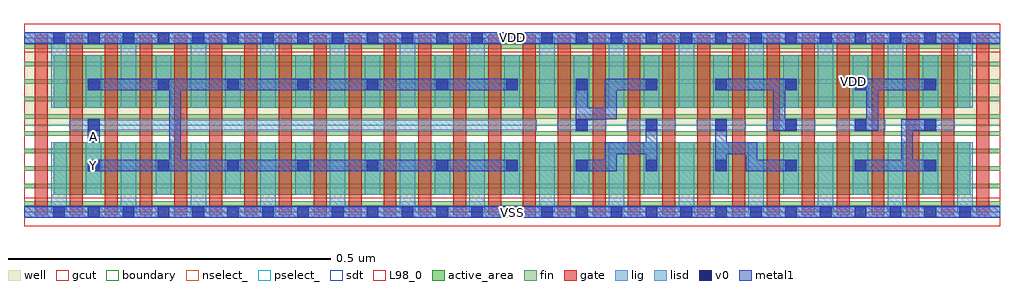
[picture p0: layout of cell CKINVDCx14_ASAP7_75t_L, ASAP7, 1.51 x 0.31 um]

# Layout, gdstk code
import gdstk
lib = gdstk.Library(unit=1e-6, precision=2.5e-10)
def R(c, l, rs):  # rectangles x0, y0, x1, y1
    for r in rs: c.add(gdstk.rectangle(r[:2], r[2:], *l))
def A(c, l, x, y, w, h, nx, ny, dx, dy):  # array of equal rectangles
    R(c, l, [(x+i*dx, y+j*dy, x+i*dx+w, y+j*dy+h) for i in range(nx) for j in range(ny)])
def P(c, l, *ps):  # polygons
    for p in ps: c.add(gdstk.Polygon(p, *l))
well = (1, 0)
fin = (2, 0)
gate = (7, 0)
gcut = (10, 0)
active_area = (11, 0)
nselect_ = (12, 0)
pselect_ = (13, 0)
lig = (16, 0)
lisd = (17, 0)
v0 = (18, 0)
metal1 = (19, 0)
sdt = (88, 0)
L98_0 = (98, 0)
boundary = (100, 0)

ckinvdcx14_asap7_75t_l = lib.new_cell('CKINVDCx14_ASAP7_75t_L')
R(ckinvdcx14_asap7_75t_l, well, [(0,0.135,1.512,0.27)])
A(ckinvdcx14_asap7_75t_l, fin, 0, 0.01, 1.512, 0.007, 1, 10, 0, 0.027)
A(ckinvdcx14_asap7_75t_l, gate, 0.017, -0.005, 0.02, 0.28, 28, 1, 0.054, 0)
R(ckinvdcx14_asap7_75t_l, gcut, [(0,-0.022,1.512,0.022), (0,0.248,1.512,0.292)])
R(ckinvdcx14_asap7_75t_l, active_area, [(0.046,0.027,1.466,0.108), (0.046,0.162,1.466,0.243)])
R(ckinvdcx14_asap7_75t_l, nselect_, [(0,0,1.512,0.135)])
R(ckinvdcx14_asap7_75t_l, pselect_, [(0,0.135,1.512,0.27)])
A(ckinvdcx14_asap7_75t_l, lig, 0.826, 0.127, 0.076, 0.016, 6, 1, 0.108, 0)
R(ckinvdcx14_asap7_75t_l, lig, [(0,-0.008,1.512,0.008), (0.07,0.127,0.794,0.143), (0,0.262,1.512,0.278)])
A(ckinvdcx14_asap7_75t_l, lisd, 0.042, 0, 0.024, 0.108, 14, 2, 0.108, 0.162)
A(ckinvdcx14_asap7_75t_l, lisd, 0.096, 0.027, 0.024, 0.081, 13, 2, 0.108, 0.135)
A(ckinvdcx14_asap7_75t_l, v0, 0.045, -0.009, 0.018, 0.018, 27, 2, 0.054, 0.27)
A(ckinvdcx14_asap7_75t_l, v0, 0.099, 0.063, 0.018, 0.018, 13, 2, 0.108, 0.126)
A(ckinvdcx14_asap7_75t_l, v0, 0.855, 0.126, 0.018, 0.018, 6, 1, 0.108, 0)
R(ckinvdcx14_asap7_75t_l, v0, [(0.099,0.126,0.117,0.144)])
R(ckinvdcx14_asap7_75t_l, metal1, [(0,-0.009,1.512,0.009), (0.099,0.108,0.117,0.144), (0,0.261,1.512,0.279)])
P(ckinvdcx14_asap7_75t_l, metal1, [(1.413,0.081),(1.377,0.081),(1.377,0.126),(1.413,0.126),(1.413,0.144),(1.359,0.144),(1.359,0.081),(1.287,0.081),(1.287,0.063),(1.413,0.063)],
  [(1.089,0.09),(1.118,0.09),(1.118,0.063),(1.197,0.063),(1.197,0.081),(1.136,0.081),(1.136,0.108),(1.089,0.108),(1.089,0.144),(1.071,0.144),(1.071,0.063),(1.089,0.063)],
  [(0.918,0.09),(0.963,0.09),(0.963,0.063),(0.981,0.063),(0.981,0.144),(0.963,0.144),(0.963,0.108),(0.9,0.108),(0.9,0.081),(0.855,0.081),(0.855,0.063),(0.918,0.063)],
  [(1.413,0.207),(1.287,0.207),(1.287,0.189),(1.305,0.189),(1.305,0.144),(1.287,0.144),(1.287,0.126),(1.323,0.126),(1.323,0.189),(1.413,0.189)],
  [(1.197,0.144),(1.179,0.144),(1.179,0.189),(1.197,0.189),(1.197,0.207),(1.071,0.207),(1.071,0.189),(1.161,0.189),(1.161,0.126),(1.197,0.126)],
  [(0.873,0.144),(0.918,0.144),(0.918,0.189),(0.981,0.189),(0.981,0.207),(0.9,0.207),(0.9,0.162),(0.873,0.162),(0.873,0.207),(0.855,0.207),(0.855,0.126),(0.873,0.126)],
  [(0.765,0.081),(0.243,0.081),(0.243,0.189),(0.765,0.189),(0.765,0.207),(0.099,0.207),(0.099,0.189),(0.225,0.189),(0.225,0.081),(0.099,0.081),(0.099,0.063),(0.765,0.063)])
A(ckinvdcx14_asap7_75t_l, sdt, 0.042, 0.027, 0.024, 0.081, 27, 2, 0.054, 0.135)
R(ckinvdcx14_asap7_75t_l, L98_0, [(0,0,1.512,0.27)])
R(ckinvdcx14_asap7_75t_l, boundary, [(0,0,1.512,0.27)])
ckinvdcx14_asap7_75t_l.add(gdstk.Label('Y', (0.108,0.072), layer=19, texttype=251))
ckinvdcx14_asap7_75t_l.add(gdstk.Label('A', (0.108,0.117), layer=19, texttype=251))
ckinvdcx14_asap7_75t_l.add(gdstk.Label('VSS', (0.756,0), layer=19, texttype=251))
ckinvdcx14_asap7_75t_l.add(gdstk.Label('VDD', (0.756,0.27), layer=19, texttype=251))
ckinvdcx14_asap7_75t_l.add(gdstk.Label('VDD', (1.2853,0.2025), layer=1, texttype=251))
ckinvdcx14_asap7_75t_l.add(gdstk.Label('VSS', (1.7388,0.2025), layer=3, texttype=251))

lib.write_gds('CKINVDCx14_ASAP7_75t_L.gds')
